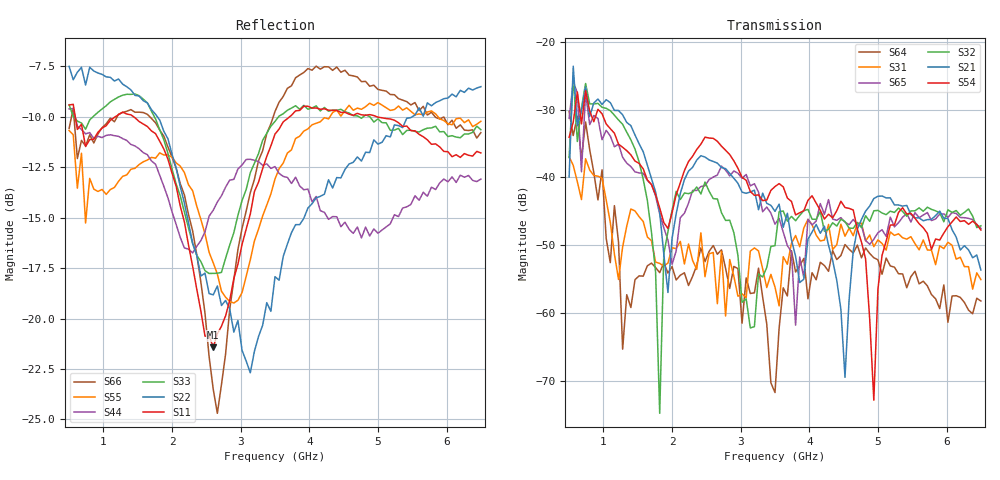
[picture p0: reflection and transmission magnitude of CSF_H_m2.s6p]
!Keysight Technologies,M9804A,MY58100912,A.14.10.03
!Date: Thursday, April 27, 2023 10:28:33
!Correction: S11(C  6-Port  )
!S12(C  6-Port  )
!S13(C  6-Port  )
!S14(C  6-Port  )
!S15(C  6-Port  )
!S16(C  6-Port  )
!S21(C  6-Port  )
!S22(C  6-Port  )
!S23(C  6-Port  )
!S24(C  6-Port  )
!S25(C  6-Port  )
!S26(C  6-Port  )
!S31(C  6-Port  )
!S32(C  6-Port  )
!S33(C  6-Port  )
!S34(C  6-Port  )
!S35(C  6-Port  )
!S36(C  6-Port  )
!S41(C  6-Port  )
!S42(C  6-Port  )
!S43(C  6-Port  )
!S44(C  6-Port  )
!S45(C  6-Port  )
!S46(C  6-Port  )
!S51(C  6-Port  )
!S52(C  6-Port  )
!S53(C  6-Port  )
!S54(C  6-Port  )
!S55(C  6-Port  )
!S56(C  6-Port  )
!S61(C  6-Port  )
!S62(C  6-Port  )
!S63(C  6-Port  )
!S64(C  6-Port  )
!S65(C  6-Port  )
!S66(C  6-Port  )
!S6P File: Measurement: :
# Hz S  RI  R 50
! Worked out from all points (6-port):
!   101 points, 500 MHz to 6.5 GHz, reference 50 ohm
!   strongest paths, dB at 500 MHz, 2 GHz, 3.5 GHz, 5 GHz, 6.5 GHz:
!     S54: -34.1, -45.2, -41.3, -56.4, -47.8
!     S21: -39.9, -49.0, -45.0, -42.8, -53.7
!     S32: -37.1, -44.9, -50.1, -44.9, -47.1
!     S65: -31.3, -52.8, -46.9, -48.2, -47.5
!     S31: -36.9, -50.4, -56.2, -49.2, -55.1
!     S64: -30.3, -53.2, -71.8, -52.2, -58.2
!   lowest |S11| = -21.4 dB at 2.6 GHz (marker M1), VSWR 1.19, Z = 42.5 + j2.18 ohm
!   |S11| at or under -10 dB: 589.3 MHz to 1.177 GHz (587.7 MHz wide, 66.5 % of centre); 1.436 GHz to 3.716 GHz (2.28 GHz wide, 88.5 % of centre); 4.98 GHz to end of sweep
